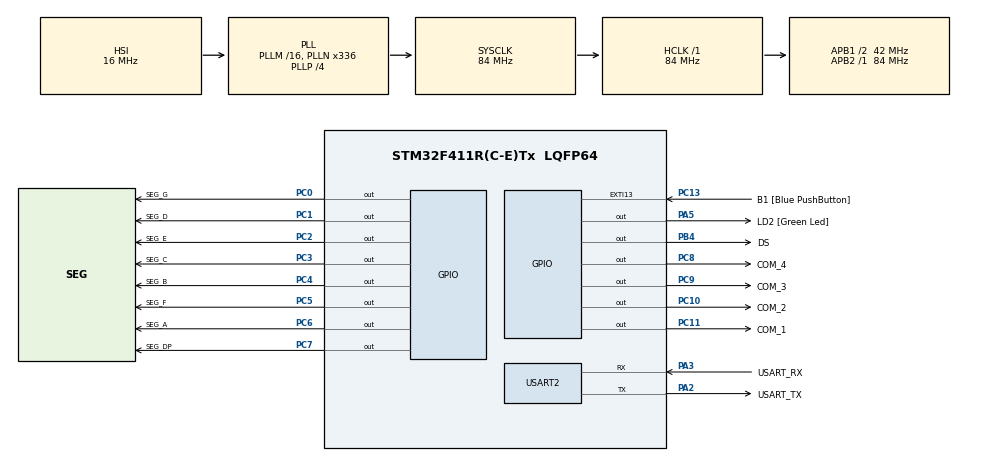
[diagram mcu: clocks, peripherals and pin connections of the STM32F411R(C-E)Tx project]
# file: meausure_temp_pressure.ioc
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Mcu.Family=STM32F4
Mcu.Name=STM32F411R(C-E)Tx
Mcu.Package=LQFP64
NVIC.PriorityGroup=NVIC_PRIORITYGROUP_0
NVIC.TIM1_TRG_COM_TIM11_IRQn=true\:0\:0\:false\:false\:true\:true\:true\:true
NVIC.TIM1_UP_TIM10_IRQn=true\:0\:0\:false\:false\:true\:true\:true\:true
PA13.GPIO_Label=TMS
PA13.Mode=Serial_Wire
PA13.Signal=SYS_JTMS-SWDIO
PA14.GPIO_Label=TCK
PA14.Mode=Serial_Wire
PA14.Signal=SYS_JTCK-SWCLK
PA2.GPIO_Label=USART_TX
PA2.Mode=Asynchronous
PA2.Signal=USART2_TX
PA3.GPIO_Label=USART_RX
PA3.Mode=Asynchronous
PA3.Signal=USART2_RX
PA5.GPIO_Label=LD2 [Green Led]
PA5.Signal=GPIO_Output
PB3.GPIO_Label=SWO
PB3.Signal=SYS_JTDO-SWO
PB4.GPIO_Label=DS
PB4.GPIO_ModeDefaultOutputPP=GPIO_MODE_OUTPUT_OD
PB4.GPIO_PuPd=GPIO_NOPULL
PB4.PinState=GPIO_PIN_SET
PB4.Signal=GPIO_Output
PC0.GPIO_Label=SEG_G
PC0.Signal=GPIO_Output
PC1.GPIO_Label=SEG_D
PC1.Signal=GPIO_Output
PC10.GPIO_Label=COM_2
PC10.Signal=GPIO_Output
PC11.GPIO_Label=COM_1
PC11.Signal=GPIO_Output
PC13-ANTI_TAMP.GPIO_Label=B1 [Blue PushButton]
PC13-ANTI_TAMP.GPIO_ModeDefaultEXTI=GPIO_MODE_IT_FALLING
PC13-ANTI_TAMP.Signal=GPXTI13
PC14-OSC32_IN.Mode=LSE-External-Oscillator
PC14-OSC32_IN.Signal=RCC_OSC32_IN
PC15-OSC32_OUT.Mode=LSE-External-Oscillator
PC15-OSC32_OUT.Signal=RCC_OSC32_OUT
PC2.GPIO_Label=SEG_E
PC2.Signal=GPIO_Output
PC3.GPIO_Label=SEG_C
PC3.Signal=GPIO_Output
PC4.GPIO_Label=SEG_B
PC4.Signal=GPIO_Output
PC5.GPIO_Label=SEG_F
PC5.Signal=GPIO_Output
PC6.GPIO_Label=SEG_A
PC6.Signal=GPIO_Output
PC7.GPIO_Label=SEG_DP
PC7.Signal=GPIO_Output
PC8.GPIO_Label=COM_4
PC8.Signal=GPIO_Output
PC9.GPIO_Label=COM_3
PC9.Signal=GPIO_Output
PH0\ -\ OSC_IN.Mode=HSE-External-Clock-Source
PH0\ -\ OSC_IN.Signal=RCC_OSC_IN
PH1\ -\ OSC_OUT.Mode=HSE-External-Clock-Source
PH1\ -\ OSC_OUT.Signal=RCC_OSC_OUT
ProjectManager.HeapSize=0x200
ProjectManager.StackSize=0x400
ProjectManager.TargetToolchain=STM32CubeIDE
RCC.48MHZClocksFreq_Value=84000000
RCC.AHBFreq_Value=84000000
RCC.APB1CLKDivider=RCC_HCLK_DIV2
RCC.APB1Freq_Value=42000000
RCC.APB1TimFreq_Value=84000000
RCC.APB2Freq_Value=84000000
RCC.APB2TimFreq_Value=84000000
RCC.CortexFreq_Value=84000000
RCC.FLatency-AdvancedSettings=FLASH_LATENCY_2
RCC.HCLKFreq_Value=84000000
RCC.HSE_VALUE=8000000
RCC.HSI_VALUE=16000000
RCC.PLLN=336
RCC.PLLP=RCC_PLLP_DIV4
RCC.SYSCLKFreq_VALUE=84000000
RCC.SYSCLKSource=RCC_SYSCLKSOURCE_PLLCLK
RCC.VCOOutputFreq_Value=336000000
TIM10.Period=10000-1
TIM10.Prescaler=8400-1
TIM11.Period=10-1
TIM11.Prescaler=8400-1
TIM9.Prescaler=84-1
USART2.VirtualMode=VM_ASYNC
VP_TIM10_VS_ClockSourceINT.Mode=Enable_Timer
VP_TIM11_VS_ClockSourceINT.Mode=Enable_Timer
VP_TIM9_VS_ClockSourceINT.Mode=Internal
board=NUCLEO-F411RE

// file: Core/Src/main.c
/* USER CODE BEGIN Header */
/**
  ******************************************************************************
  * @file           : main.c
  * @brief          : Main program body
  ******************************************************************************
  * @attention
  *
  * Copyright (c) 2025 STMicroelectronics.
  * All rights reserved.
  *
  * This software is licensed under terms that can be found in the LICENSE file
  * in the root directory of this software component.
  * If no LICENSE file comes with this software, it is provided AS-IS.
  *
  ******************************************************************************
  */
/* USER CODE END Header */
#include "main.h"

/* USER CODE BEGIN Includes */
#include <stdio.h>
#include <stdbool.h>
/* USER CODE END Includes */

TIM_HandleTypeDef htim9;
TIM_HandleTypeDef htim10;
TIM_HandleTypeDef htim11;

UART_HandleTypeDef huart2;

/* USER CODE BEGIN PV */
volatile bool timer10_interrupt;
volatile uint8_t DispCnt;
volatile uint8_t to_be_displayed[4];

const uint8_t SEGMENT_LUT[10] = {
	0x3F, // 0
	0x06, // 1
	0x5B, // 2
	0x4F, // 3
	0x66, // 4
	0x6D, // 5
	0x7D, // 6
	0x07, // 7
	0x7F, // 8
	0x6F  // 9
};

typedef struct {
	GPIO_TypeDef* port;
	uint16_t pin;
}pin_t;

static const pin_t Segments[] = {
	{ SEG_A_GPIO_Port, SEG_A_Pin },
	{ SEG_B_GPIO_Port, SEG_B_Pin },
	{ SEG_C_GPIO_Port, SEG_C_Pin },
	{ SEG_D_GPIO_Port, SEG_D_Pin },
	{ SEG_E_GPIO_Port, SEG_E_Pin },
	{ SEG_F_GPIO_Port, SEG_F_Pin },
	{ SEG_G_GPIO_Port, SEG_G_Pin },
	{ SEG_DP_GPIO_Port, SEG_DP_Pin },
};

/* USER CODE END PV */

void SystemClock_Config(void);
static void MX_GPIO_Init(void);
static void MX_USART2_UART_Init(void);
static void MX_TIM9_Init(void);
static void MX_TIM10_Init(void);
static void MX_TIM11_Init(void);
/* USER CODE BEGIN PFP */

int __io_putchar(int ch); // Ustawia printfa tak ze wysyla dane UARTEM

void delay_us(uint32_t us); //Potrzebyn do komunikacji 1wire, zeby odczekac odpowiednie chwile w mikros

HAL_StatusTypeDef wire_reset(void); //wykonuje sekwencje na pinie Reset

void send_bit(uint8_t bit); //wysyla pojedyczny bit
uint8_t read_bit(void); //odbiera pojedynczy bit

void send_byte(uint8_t byte); //przesyła bajt
uint8_t read_byte(void); //odbiera bajt

float read_temperature(void); //zczytuje temperature

void HAL_TIM_PeriodElapsedCallback(TIM_HandleTypeDef *htim); //obsługuje przerwanie od timera

void turn_segments(uint8_t number); //włącza odpowiednie segmenty w zalezności od cyfry

void convert_number_to_digits(uint8_t *digits, float number); // rozbija liczbe float na pojedyczne cyfry i wpisuje do podanej tablicy

void select_display(uint8_t display); // wybieramy com na ktorym chcemy wyswietlac

/* USER CODE END PFP */

int main(void)
{

  /* MCU Configuration--------------------------------------------------------*/

  /* Reset of all peripherals, Initializes the Flash interface and the Systick. */
  HAL_Init();

  /* Configure the system clock */
  SystemClock_Config();

  /* Initialize all configured peripherals */
  MX_GPIO_Init();
  MX_USART2_UART_Init();
  MX_TIM9_Init();
  MX_TIM10_Init();
  MX_TIM11_Init();
  /* USER CODE BEGIN 2 */

  static uint8_t interrupt_counter = 0;
  HAL_TIM_Base_Start(&htim9); //licznik odpowiadający za zliczanie mikrosekund okres 1 us
  HAL_TIM_Base_Start_IT(&htim10); //licznik potrzebny do liczenia sekund w while - przerwa między odczytami temp, okres 1s
  HAL_TIM_Base_Start_IT(&htim11); //odpalamy licznik 11 z przerwaniami potrzebny do wysweitlacza;

  /* USER CODE END 2 */

  /* Infinite loop */
  /* USER CODE BEGIN WHILE */
  while (1)
  {
	  if (timer10_interrupt) {
		  timer10_interrupt = false;

		  if (interrupt_counter < 3) {
			  printf(".");
			  fflush(stdout);
			  interrupt_counter++;

		  } else {
			  float temp = read_temperature();
			  temp = roundf(temp * 100.0) / 100.0;
			  convert_number_to_digits(&to_be_displayed, temp);
			  printf("Temperatura: %.2f °C\n", temp);
			  interrupt_counter = 0;
		  }

	  }

    /* USER CODE END WHILE */

  }
}

void SystemClock_Config(void)
{
  RCC_OscInitTypeDef RCC_OscInitStruct = {0};
  RCC_ClkInitTypeDef RCC_ClkInitStruct = {0};

  /** Configure the main internal regulator output voltage
  */
  __HAL_RCC_PWR_CLK_ENABLE();
  __HAL_PWR_VOLTAGESCALING_CONFIG(PWR_REGULATOR_VOLTAGE_SCALE1);

  /** Initializes the RCC Oscillators according to the specified parameters
  * in the RCC_OscInitTypeDef structure.
  */
  RCC_OscInitStruct.OscillatorType = RCC_OSCILLATORTYPE_HSI;
  RCC_OscInitStruct.HSIState = RCC_HSI_ON;
  RCC_OscInitStruct.HSICalibrationValue = RCC_HSICALIBRATION_DEFAULT;
  RCC_OscInitStruct.PLL.PLLState = RCC_PLL_ON;
  RCC_OscInitStruct.PLL.PLLSource = RCC_PLLSOURCE_HSI;
  RCC_OscInitStruct.PLL.PLLM = 16;
  RCC_OscInitStruct.PLL.PLLN = 336;
  RCC_OscInitStruct.PLL.PLLP = RCC_PLLP_DIV4;
  RCC_OscInitStruct.PLL.PLLQ = 4;
  if (HAL_RCC_OscConfig(&RCC_OscInitStruct) != HAL_OK)
  {
    Error_Handler();
  }

  /** Initializes the CPU, AHB and APB buses clocks
  */
  RCC_ClkInitStruct.ClockType = RCC_CLOCKTYPE_HCLK|RCC_CLOCKTYPE_SYSCLK
                              |RCC_CLOCKTYPE_PCLK1|RCC_CLOCKTYPE_PCLK2;
  RCC_ClkInitStruct.SYSCLKSource = RCC_SYSCLKSOURCE_PLLCLK;
  RCC_ClkInitStruct.AHBCLKDivider = RCC_SYSCLK_DIV1;
  RCC_ClkInitStruct.APB1CLKDivider = RCC_HCLK_DIV2;
  RCC_ClkInitStruct.APB2CLKDivider = RCC_HCLK_DIV1;

  if (HAL_RCC_ClockConfig(&RCC_ClkInitStruct, FLASH_LATENCY_2) != HAL_OK)
  {
    Error_Handler();
  }
}

static void MX_TIM9_Init(void)
{

  TIM_ClockConfigTypeDef sClockSourceConfig = {0};

  htim9.Instance = TIM9;
  htim9.Init.Prescaler = 84-1;
  htim9.Init.CounterMode = TIM_COUNTERMODE_UP;
  htim9.Init.Period = 65535;
  htim9.Init.ClockDivision = TIM_CLOCKDIVISION_DIV1;
  htim9.Init.AutoReloadPreload = TIM_AUTORELOAD_PRELOAD_DISABLE;
  if (HAL_TIM_Base_Init(&htim9) != HAL_OK)
  {
    Error_Handler();
  }
  sClockSourceConfig.ClockSource = TIM_CLOCKSOURCE_INTERNAL;
  if (HAL_TIM_ConfigClockSource(&htim9, &sClockSourceConfig) != HAL_OK)
  {
    Error_Handler();
  }

}

static void MX_TIM10_Init(void)
{

  htim10.Instance = TIM10;
  htim10.Init.Prescaler = 8400-1;
  htim10.Init.CounterMode = TIM_COUNTERMODE_UP;
  htim10.Init.Period = 10000-1;
  htim10.Init.ClockDivision = TIM_CLOCKDIVISION_DIV1;
  htim10.Init.AutoReloadPreload = TIM_AUTORELOAD_PRELOAD_DISABLE;
  if (HAL_TIM_Base_Init(&htim10) != HAL_OK)
  {
    Error_Handler();
  }

}

static void MX_TIM11_Init(void)
{

  htim11.Instance = TIM11;
  htim11.Init.Prescaler = 8400-1;
  htim11.Init.CounterMode = TIM_COUNTERMODE_UP;
  htim11.Init.Period = 10-1;
  htim11.Init.ClockDivision = TIM_CLOCKDIVISION_DIV1;
  htim11.Init.AutoReloadPreload = TIM_AUTORELOAD_PRELOAD_DISABLE;
  if (HAL_TIM_Base_Init(&htim11) != HAL_OK)
  {
    Error_Handler();
  }

}

static void MX_USART2_UART_Init(void)
{

  huart2.Instance = USART2;
  huart2.Init.BaudRate = 115200;
  huart2.Init.WordLength = UART_WORDLENGTH_8B;
  huart2.Init.StopBits = UART_STOPBITS_1;
  huart2.Init.Parity = UART_PARITY_NONE;
  huart2.Init.Mode = UART_MODE_TX_RX;
  huart2.Init.HwFlowCtl = UART_HWCONTROL_NONE;
  huart2.Init.OverSampling = UART_OVERSAMPLING_16;
  if (HAL_UART_Init(&huart2) != HAL_OK)
  {
    Error_Handler();
  }

}

static void MX_GPIO_Init(void)
{
  GPIO_InitTypeDef GPIO_InitStruct = {0};

  /* GPIO Ports Clock Enable */
  __HAL_RCC_GPIOC_CLK_ENABLE();
  __HAL_RCC_GPIOH_CLK_ENABLE();
  __HAL_RCC_GPIOA_CLK_ENABLE();
  __HAL_RCC_GPIOB_CLK_ENABLE();

  /*Configure GPIO pin Output Level */
  HAL_GPIO_WritePin(GPIOC, SEG_G_Pin|SEG_D_Pin|SEG_E_Pin|SEG_C_Pin
                          |SEG_B_Pin|SEG_F_Pin|SEG_A_Pin|SEG_DP_Pin
                          |COM_4_Pin|COM_3_Pin|COM_2_Pin|COM_1_Pin, GPIO_PIN_RESET);

  /*Configure GPIO pin Output Level */
  HAL_GPIO_WritePin(LD2_GPIO_Port, LD2_Pin, GPIO_PIN_RESET);

  /*Configure GPIO pin Output Level */
  HAL_GPIO_WritePin(DS_GPIO_Port, DS_Pin, GPIO_PIN_SET);

  /*Configure GPIO pin : B1_Pin */
  GPIO_InitStruct.Pin = B1_Pin;
  GPIO_InitStruct.Mode = GPIO_MODE_IT_FALLING;
  GPIO_InitStruct.Pull = GPIO_NOPULL;
  HAL_GPIO_Init(B1_GPIO_Port, &GPIO_InitStruct);

  /*Configure GPIO pins : SEG_G_Pin SEG_D_Pin SEG_E_Pin SEG_C_Pin
                           SEG_B_Pin SEG_F_Pin SEG_A_Pin SEG_DP_Pin
                           COM_4_Pin COM_3_Pin COM_2_Pin COM_1_Pin */
  GPIO_InitStruct.Pin = SEG_G_Pin|SEG_D_Pin|SEG_E_Pin|SEG_C_Pin
                          |SEG_B_Pin|SEG_F_Pin|SEG_A_Pin|SEG_DP_Pin
                          |COM_4_Pin|COM_3_Pin|COM_2_Pin|COM_1_Pin;
  GPIO_InitStruct.Mode = GPIO_MODE_OUTPUT_PP;
  GPIO_InitStruct.Pull = GPIO_NOPULL;
  GPIO_InitStruct.Speed = GPIO_SPEED_FREQ_LOW;
  HAL_GPIO_Init(GPIOC, &GPIO_InitStruct);

  /*Configure GPIO pin : LD2_Pin */
  GPIO_InitStruct.Pin = LD2_Pin;
  GPIO_InitStruct.Mode = GPIO_MODE_OUTPUT_PP;
  GPIO_InitStruct.Pull = GPIO_NOPULL;
  GPIO_InitStruct.Speed = GPIO_SPEED_FREQ_LOW;
  HAL_GPIO_Init(LD2_GPIO_Port, &GPIO_InitStruct);

  /*Configure GPIO pin : DS_Pin */
  GPIO_InitStruct.Pin = DS_Pin;
  GPIO_InitStruct.Mode = GPIO_MODE_OUTPUT_OD;
  GPIO_InitStruct.Pull = GPIO_NOPULL;
  GPIO_InitStruct.Speed = GPIO_SPEED_FREQ_LOW;
  HAL_GPIO_Init(DS_GPIO_Port, &GPIO_InitStruct);

}

/* USER CODE BEGIN 4 */
int __io_putchar(int ch)
{
  if (ch == '\n') {
    __io_putchar('\r');
  }
  HAL_UART_Transmit(&huart2, (uint8_t*)&ch, 1, HAL_MAX_DELAY);
  return 1;
}

void delay_us(uint32_t us) {

	__HAL_TIM_SET_COUNTER(&htim9, 0); //ustawia licznik na zero
	while (__HAL_TIM_GET_COUNTER(&htim9) < us) {} // zlicza ile trzeba mikrosekund
}

HAL_StatusTypeDef wire_reset(void) {

	HAL_StatusTypeDef answer = HAL_ERROR;
	HAL_GPIO_WritePin(DS_GPIO_Port, DS_Pin, GPIO_PIN_RESET);
	delay_us(480);
	HAL_GPIO_WritePin(DS_GPIO_Port, DS_Pin, GPIO_PIN_SET);
	delay_us(70);

	if (HAL_GPIO_ReadPin(DS_GPIO_Port, DS_Pin) == GPIO_PIN_RESET) {
		answer = HAL_OK;
		delay_us(410);
	}
	return answer;
}

void send_bit(uint8_t bit) {

	if (bit == 1){
		HAL_GPIO_WritePin(DS_GPIO_Port, DS_Pin, GPIO_PIN_RESET);
		delay_us(6);
		HAL_GPIO_WritePin(DS_GPIO_Port, DS_Pin, GPIO_PIN_SET);
		delay_us(64);
	} else {
		HAL_GPIO_WritePin(DS_GPIO_Port, DS_Pin, GPIO_PIN_RESET);
		delay_us(60);
		HAL_GPIO_WritePin(DS_GPIO_Port, DS_Pin, GPIO_PIN_SET);
		delay_us(10);
	}
}

uint8_t read_bit(void){

	  int rc;
	  HAL_GPIO_WritePin(DS_GPIO_Port, DS_Pin, GPIO_PIN_RESET);
	  delay_us(6);
	  HAL_GPIO_WritePin(DS_GPIO_Port, DS_Pin, GPIO_PIN_SET);
	  delay_us(9);
	  rc = HAL_GPIO_ReadPin(DS_GPIO_Port, DS_Pin);
	  delay_us(55);
	  return rc;
}

void send_byte(uint8_t byte) {

	uint8_t i;
	for (i = 0; i < 8; i++) {
		send_bit(byte & 0x01); //wyciąga ostatni bit
		byte >>= 1;  //bitowe przesunięcie w prawo
  }
}

uint8_t read_byte(void) {

	 uint8_t value = 0;
	 uint8_t i;
	 for (i = 0; i < 8; i++) {
	    value >>= 1; //przesuwa bity w prawo, poniewaz czujnik przesyła LSB jako pierwszy
	    if (read_bit() == 1)
	      value |= 0x80;  //jeśli odczytany bit to 1 to ustawia go na najstarszy
	 }
	 return value;
}

float read_temperature(void) {
	wire_reset();
	send_byte(0xcc); //SKIP ROM pomija adresowanie czujnika - mamy i tak tylko jeden
	send_byte(0x44); //uruchamia pomiar temperatury

	HAL_Delay(750);

    wire_reset();
    send_byte(0xcc);
    send_byte(0xbe); //Odczytuje rejestry czujnika

    int i;
    uint8_t scratchpad[9];
    for (i = 0; i < 9; i++)
	  scratchpad[i] = read_byte();

    int16_t value = ((int16_t)scratchpad[1] << 8) | scratchpad[0];

    return value / 16.0;
}

void turn_segments(uint8_t number) {

	uint8_t binary_number = SEGMENT_LUT[number];

	for (uint8_t i = 0; i < 8; i++){

		if (binary_number & (1 << i)){ //sprawdza czy i-ty element to jedynka
			HAL_GPIO_WritePin(Segments[i].port, Segments[i].pin, GPIO_PIN_SET);
		} else {
			HAL_GPIO_WritePin(Segments[i].port, Segments[i].pin, GPIO_PIN_RESET);
		}
	}
	if (DispCnt == 1) {
		HAL_GPIO_WritePin(Segments[7].port, Segments[7].pin, GPIO_PIN_SET);
	}
}

void convert_number_to_digits(uint8_t *digits, float number){
	//zakładam że 100 > temp > 0

	int int_part = (int)number;
	float float_part = number - int_part*1.0;

	digits[0] = (int_part - int_part % 10) / 10;
	digits[1] = int_part % 10;

	float_part *= 100;
	int inted_float_part = (int)float_part;

	digits[2] = (inted_float_part - inted_float_part % 10) / 10;
	digits[3] = inted_float_part % 10;
}

void select_display(uint8_t display){
	switch(display){

	case 0:
		  HAL_GPIO_WritePin(COM_1_GPIO_Port, COM_1_Pin, GPIO_PIN_RESET);
		  HAL_GPIO_WritePin(COM_2_GPIO_Port, COM_2_Pin, GPIO_PIN_SET);
		  HAL_GPIO_WritePin(COM_3_GPIO_Port, COM_3_Pin, GPIO_PIN_SET);
		  HAL_GPIO_WritePin(COM_4_GPIO_Port, COM_4_Pin, GPIO_PIN_SET);
		  break;
	case 1:
		  HAL_GPIO_WritePin(COM_1_GPIO_Port, COM_1_Pin, GPIO_PIN_SET);
		  HAL_GPIO_WritePin(COM_2_GPIO_Port, COM_2_Pin, GPIO_PIN_RESET);
		  HAL_GPIO_WritePin(COM_3_GPIO_Port, COM_3_Pin, GPIO_PIN_SET);
		  HAL_GPIO_WritePin(COM_4_GPIO_Port, COM_4_Pin, GPIO_PIN_SET);
		  break;
	case 2:
		  HAL_GPIO_WritePin(COM_1_GPIO_Port, COM_1_Pin, GPIO_PIN_SET);
		  HAL_GPIO_WritePin(COM_2_GPIO_Port, COM_2_Pin, GPIO_PIN_SET);
		  HAL_GPIO_WritePin(COM_3_GPIO_Port, COM_3_Pin, GPIO_PIN_RESET);
		  HAL_GPIO_WritePin(COM_4_GPIO_Port, COM_4_Pin, GPIO_PIN_SET);
		  break;
	case 3:
		  HAL_GPIO_WritePin(COM_1_GPIO_Port, COM_1_Pin, GPIO_PIN_SET);
		  HAL_GPIO_WritePin(COM_2_GPIO_Port, COM_2_Pin, GPIO_PIN_SET);
		  HAL_GPIO_WritePin(COM_3_GPIO_Port, COM_3_Pin, GPIO_PIN_SET);
		  HAL_GPIO_WritePin(COM_4_GPIO_Port, COM_4_Pin, GPIO_PIN_RESET);
		  break;
	}
}

void HAL_TIM_PeriodElapsedCallback(TIM_HandleTypeDef *htim) {

	if (htim == &htim10) {
//		HAL_GPIO_TogglePin(LD2_GPIO_Port, LD2_Pin);
		timer10_interrupt = true;
	}

	if (htim == &htim11) {
			HAL_GPIO_TogglePin(LD2_GPIO_Port, LD2_Pin);

	        HAL_GPIO_WritePin(COM_1_GPIO_Port, COM_1_Pin, GPIO_PIN_SET);
	        HAL_GPIO_WritePin(COM_2_GPIO_Port, COM_2_Pin, GPIO_PIN_SET);
	        HAL_GPIO_WritePin(COM_3_GPIO_Port, COM_3_Pin, GPIO_PIN_SET);
	        HAL_GPIO_WritePin(COM_4_GPIO_Port, COM_4_Pin, GPIO_PIN_SET);

			turn_segments(to_be_displayed[DispCnt]);

			select_display(DispCnt);

			if (DispCnt >= 3) {
				DispCnt = 0;
			} else {
				DispCnt++;
			}
		}
}
/* USER CODE END 4 */

void Error_Handler(void)
{
  __disable_irq();
  while (1)
  {
  }
}
